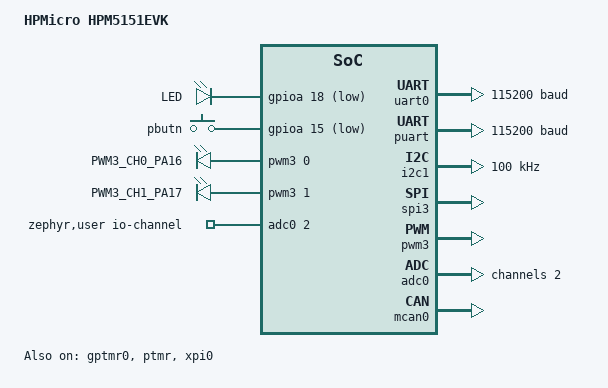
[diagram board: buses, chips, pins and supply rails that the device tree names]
/*
 * Copyright 2026 HPMicro
 * SPDX-License-Identifier: Apache-2.0
 */

/dts-v1/;

#include <hpmicro/hpm5151.dtsi>
#include "hpm5100evk-pinctrl.dtsi"
#include <zephyr/dt-bindings/input/input-event-codes.h>
#include <zephyr/dt-bindings/adc/adc.h>
#include <zephyr/dt-bindings/i2c/i2c.h>
#include <zephyr/dt-bindings/pwm/pwm.h>

/ {
	model = "HPMicro HPM5151EVK";
	compatible = "HPMicro,hpm5100evk";

	aliases {
		led0 = &led_r;
		sw0 = &pbutn;
		adc0 = &adc0;
		i2c-0 = &i2c1;
		pwm-0 = &pwm3;
		pwm-led0 = &pwm_led0;
		pwm-led1 = &pwm_led1;
		counter0 = &gptmr0;
	};

	chosen {
		zephyr,console = &uart0;
		zephyr,shell-uart = &uart0;
		zephyr,flash = &flash0;
		zephyr,sram = &hram;
		zephyr,itcm = &ilm;
		zephyr,dtcm = &dlm;
		zephyr,code-partition = &slot0_partition;
		zephyr,flash-controller = &xpi0;
		zephyr,canbus = &mcan0;
	};

	leds {
		compatible = "gpio-leds";
		led_r: led_r {
			gpios = <&gpioa 18 (GPIO_ACTIVE_LOW)>;
			label = "LED";
		};
	};

	gpio_keys {
		compatible = "gpio-keys";
		pbutn: pbutn {
			/* Match sdk board.h BOARD_APP_GPIO_PIN = PA15 (USER KEY). */
			gpios = <&gpioa 15 (GPIO_PULL_UP | GPIO_ACTIVE_LOW)>;
			zephyr,code = <INPUT_KEY_0>;
		};
	};

	/*
	 * BOARD_APP_PWM_OUT1/2 = PWM3 ch0/ch1 on PA16/PA17.
	 */
	pwmleds {
		compatible = "pwm-leds";
		pwm_led0: pwm_led_0 {
			pwms = <&pwm3 0 PWM_MSEC(20) PWM_POLARITY_NORMAL>;
			label = "PWM3_CH0_PA16";
		};
		pwm_led1: pwm_led_1 {
			pwms = <&pwm3 1 PWM_MSEC(20) PWM_POLARITY_NORMAL>;
			label = "PWM3_CH1_PA17";
		};
	};
};

&uart0 {
	status = "okay";
	current-speed = <115200>;
	pinctrl-0 = <&pinmux_uart0>;
	pinctrl-names = "default";
	wakeup-source;
	/* Async RX idle: on-chip UART RX-line idle (same UART IRQ). */
	dmas = <&hdma0 0 8>, <&hdma0 1 9>;
	dma-names = "rx", "tx";
};

/*
 * Stop-mode serial wake input. Connect an external 3.3V USB-UART adapter:
 * adapter RX <- PY00, adapter TX -> PY01, and common GND. PY00/PY01 are
 * unavailable to SOC I2C0 while PUART is enabled.
 */
&puart {
	status = "okay";
	current-speed = <115200>;
	pinctrl-0 = <&pinmux_puart>;
	pinctrl-names = "default";
	wakeup-source;
};

/*
 * UART1–3: SoC nodes + board pinmux ready; keep disabled by default.
 * Enable with status="okay" when needed (see UART_NOTES.md).
 */
&uart1 {
	current-speed = <115200>;
	pinctrl-0 = <&pinmux_uart1>;
	pinctrl-names = "default";
	status = "disabled";
};

&uart2 {
	current-speed = <115200>;
	pinctrl-0 = <&pinmux_uart2>;
	pinctrl-names = "default";
	/* HDMA mux UART2 RX/TX = 0xC/0xD; pick free HDMA0/HDMA1 channels if enabling async. */
	status = "disabled";
};

&uart3 {
	current-speed = <115200>;
	pinctrl-0 = <&pinmux_uart3>;
	pinctrl-names = "default";
	/* HDMA mux UART3 RX/TX = 0xE/0xF */
	status = "disabled";
};

&gpioa {
	pinctrl-0 = <&pinmux_gpioa>;
	pinctrl-names = "default";
	status = "okay";
};

&hdma0 {
	status = "okay";
};

/* Second AHB DMA (UM HDMA1). Enable when channel budget on HDMA0 is tight. */
&hdma1 {
	status = "disabled";
};

/*
 * BOARD_APP_I2C = I2C1 (PY03 SCL / PY02 SDA).
 */
&i2c1 {
	status = "okay";
	pinctrl-0 = <&pinmux_i2c1>;
	pinctrl-names = "default";
	clock-frequency = <I2C_BITRATE_STANDARD>;
};

/*
 * BOARD_GPTMR = GPTMR0 CH0 (internal counter / reload IRQ; no pinmux).
 */
&gptmr0 {
	status = "okay";
};

/*
 * PMIC-domain GPTMRv2. Owns the Zephyr sysclock so kernel timeouts can
 * wake Stop (Andes mtimer is in the CPU domain and stops there).
 */
&ptmr {
	status = "okay";
	wakeup-source;
	sys-clock;
};

&mtimer {
	status = "disabled";
};

/*
 * BOARD_APP_SPI = SPI3 (PC06 CS / PC10 SCLK / PC13 MOSI / PC15 MISO).
 * Short MOSI-MISO for loopback. MISO(PC15) shares ADC path — high SPI
 * clocks may need the ADC-side capacitor removed (SDK README).
 */
&spi3 {
	status = "okay";
	pinctrl-0 = <&pinmux_spi3>;
	pinctrl-names = "default";
	/* HDMA0 ch6/7: avoid UART0(0/1) and SoC I2S defaults(2-5). Mux SPI3 RX/TX. */
	dmas = <&hdma0 6 0x6>, <&hdma0 7 0x7>;
	dma-names = "rx", "tx";
};

/*
 * BOARD_APP_PWM = PWM3 (PA16 OUT1 / PA17 OUT2). Scope PA16 for duty/period.
 */
&pwm3 {
	status = "okay";
	period-init = <50>;
	dead-zone-in-half-cycle = <0>;
	pinctrl-0 = <&pinmux_pwm3>;
	pinctrl-names = "default";
};

&xpi0 {
	status = "okay";
	flash0: flash@0 {
		compatible = "hpmicro,hpmicro-flash", "soc-nv-flash";
		reg = <0x80000000 DT_SIZE_M(1)>;
		status = "okay";
		erase-block-size = <4096>;
		write-block-size = <1>;
		nor-cfg-opt-hdr = <0xfcf90002>;
		nor-cfg-opt-opt0 = <0x05>;
		nor-cfg-opt-opt1 = <0x1000>;

		partitions {
			compatible = "fixed-partitions";
			#address-cells = <1>;
			#size-cells = <1>;

			boot_partition: partition@0 {
				label = "mcuboot";
				reg = <0x3000 0x20000>;
			};

			slot0_partition: partition@23000 {
				label = "image-0";
				reg = <0x23000 DT_SIZE_K(384)>;
			};

			slot1_partition: partition@83000 {
				label = "image-1";
				reg = <0x83000 DT_SIZE_K(384)>;
			};

			scratch_partition: partition@E3000 {
				label = "image-scratch";
				reg = <0xE3000 DT_SIZE_K(64)>;
			};

			/* 1MB flash ends at 0x100000; 0xF3000+64K would overflow. */
			storage_partition: partition@F3000 {
				label = "storage";
				reg = <0xF3000 0xD000>;
			};
		};
	};
};

&usb0 {
	pinctrl-0 = <&pinmux_usb0>;
	pinctrl-names = "default";
};

zephyr_udc0: &usb0 {
	compatible = "hpmicro,hpm-udc";
	status = "disabled";
};

/*
 * Default app ADC: PC05 / ADC0 channel 2 (sdk BOARD_APP_ADC16_CH_1).
 * Used by samples/drivers/adc/adc_dt via zephyr,user io-channels.
 */
/ {
	zephyr,user {
		io-channels = <&adc0 2>;
	};
};

&adc0 {
	status = "okay";
	pinctrl-0 = <&pinmux_adc0>;
	pinctrl-names = "default";
	#address-cells = <1>;
	#size-cells = <0>;

	channel@2 {
		reg = <2>;
		zephyr,gain = "ADC_GAIN_1";
		zephyr,reference = "ADC_REF_INTERNAL";
		zephyr,acquisition-time = <ADC_ACQ_TIME_DEFAULT>;
		zephyr,resolution = <12>;
	};
};

/*
 * BOARD_APP_CAN = MCAN0 (PA19 TX / PA20 RX).
 * Internal loopback does not need a transceiver.
 */
&mcan0 {
	status = "okay";
	pinctrl-0 = <&pinmux_mcan0>;
	pinctrl-names = "default";
};
